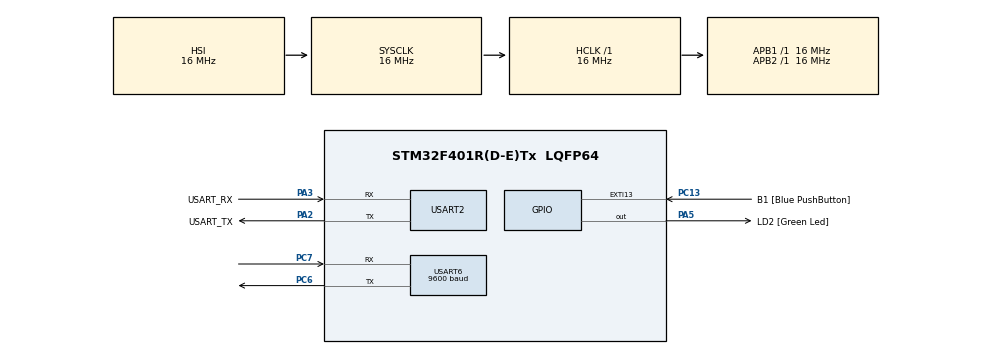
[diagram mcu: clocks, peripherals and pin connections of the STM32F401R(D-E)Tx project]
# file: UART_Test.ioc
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<<<<<<< HEAD
Mcu.Family=STM32F4
Mcu.Name=STM32F401R(D-E)Tx
Mcu.Package=LQFP64
NVIC.PriorityGroup=NVIC_PRIORITYGROUP_4
NVIC.USART2_IRQn=true\:0\:0\:false\:false\:true\:true\:true\:true
PA13.GPIO_Label=TMS
PA13.Mode=Trace_Asynchronous_SW
PA13.Signal=SYS_JTMS-SWDIO
PA14.GPIO_Label=TCK
PA14.Mode=Trace_Asynchronous_SW
PA14.Signal=SYS_JTCK-SWCLK
PA2.GPIO_Label=USART_TX
PA2.GPIO_Mode=GPIO_MODE_AF_PP
PA2.GPIO_PuPd=GPIO_NOPULL
PA2.GPIO_Speed=GPIO_SPEED_FREQ_LOW
PA2.Mode=Asynchronous
PA2.Signal=USART2_TX
PA3.GPIO_Label=USART_RX
PA3.GPIO_Mode=GPIO_MODE_AF_PP
PA3.GPIO_PuPd=GPIO_NOPULL
PA3.GPIO_Speed=GPIO_SPEED_FREQ_LOW
PA3.Mode=Asynchronous
PA3.Signal=USART2_RX
PA5.GPIO_Label=LD2 [Green Led]
PA5.GPIO_Mode=GPIO_MODE_OUTPUT_PP
PA5.GPIO_PuPd=GPIO_NOPULL
PA5.GPIO_Speed=GPIO_SPEED_FREQ_LOW
PA5.Signal=GPIO_Output
PB3.GPIO_Label=SWO
PB3.Mode=Trace_Asynchronous_SW
PB3.Signal=SYS_JTDO-SWO
PC13-ANTI_TAMP.GPIO_Label=B1 [Blue PushButton]
PC13-ANTI_TAMP.GPIO_ModeDefaultEXTI=GPIO_MODE_IT_FALLING
PC13-ANTI_TAMP.GPIO_PuPd=GPIO_NOPULL
PC13-ANTI_TAMP.Signal=GPXTI13
PC14-OSC32_IN.Mode=LSE-External-Oscillator
PC14-OSC32_IN.Signal=RCC_OSC32_IN
PC15-OSC32_OUT.Mode=LSE-External-Oscillator
PC15-OSC32_OUT.Signal=RCC_OSC32_OUT
PH0\ -\ OSC_IN.Mode=HSE-External-Clock-Source
PH0\ -\ OSC_IN.Signal=RCC_OSC_IN
PH1\ -\ OSC_OUT.Mode=HSE-External-Clock-Source
PH1\ -\ OSC_OUT.Signal=RCC_OSC_OUT
ProjectManager.HeapSize=0x200
ProjectManager.StackSize=0x400
ProjectManager.TargetToolchain=STM32CubeIDE
RCC.48MHZClocksFreq_Value=48000000
RCC.AHBFreq_Value=16000000
RCC.APB1Freq_Value=16000000
RCC.APB1TimFreq_Value=16000000
RCC.APB2Freq_Value=16000000
RCC.APB2TimFreq_Value=16000000
RCC.CortexFreq_Value=16000000
RCC.HCLKFreq_Value=16000000
RCC.HSE_VALUE=8000000
RCC.HSI_VALUE=16000000
RCC.PLLN=336
RCC.PLLP=RCC_PLLP_DIV4
RCC.PLLQ=7
RCC.SYSCLKFreq_VALUE=16000000
RCC.VCOOutputFreq_Value=336000000
USART2.VirtualMode=VM_ASYNC
board=NUCLEO-F401RE
=======
Mcu.Family=STM32F4
Mcu.Name=STM32F401R(D-E)Tx
Mcu.Package=LQFP64
NVIC.PriorityGroup=NVIC_PRIORITYGROUP_4
PA13.GPIO_Label=TMS
PA13.Mode=Trace_Asynchronous_SW
PA13.Signal=SYS_JTMS-SWDIO
PA14.GPIO_Label=TCK
PA14.Mode=Trace_Asynchronous_SW
PA14.Signal=SYS_JTCK-SWCLK
PA2.GPIO_Label=USART_TX
PA2.GPIO_Mode=GPIO_MODE_AF_PP
PA2.GPIO_PuPd=GPIO_NOPULL
PA2.GPIO_Speed=GPIO_SPEED_FREQ_LOW
PA2.Mode=Asynchronous
PA2.Signal=USART2_TX
PA3.GPIO_Label=USART_RX
PA3.GPIO_Mode=GPIO_MODE_AF_PP
PA3.GPIO_PuPd=GPIO_NOPULL
PA3.GPIO_Speed=GPIO_SPEED_FREQ_LOW
PA3.Mode=Asynchronous
PA3.Signal=USART2_RX
PA5.GPIO_Label=LD2 [Green Led]
PA5.GPIO_Mode=GPIO_MODE_OUTPUT_PP
PA5.GPIO_PuPd=GPIO_NOPULL
PA5.GPIO_Speed=GPIO_SPEED_FREQ_LOW
PA5.Signal=GPIO_Output
PB3.GPIO_Label=SWO
PB3.Mode=Trace_Asynchronous_SW
PB3.Signal=SYS_JTDO-SWO
PC13-ANTI_TAMP.GPIO_Label=B1 [Blue PushButton]
PC13-ANTI_TAMP.GPIO_ModeDefaultEXTI=GPIO_MODE_IT_FALLING
PC13-ANTI_TAMP.GPIO_PuPd=GPIO_NOPULL
PC13-ANTI_TAMP.Signal=GPXTI13
PC14-OSC32_IN.Mode=LSE-External-Oscillator
PC14-OSC32_IN.Signal=RCC_OSC32_IN
PC15-OSC32_OUT.Mode=LSE-External-Oscillator
PC15-OSC32_OUT.Signal=RCC_OSC32_OUT
PC6.Mode=Asynchronous
PC6.Signal=USART6_TX
PC7.Mode=Asynchronous
PC7.Signal=USART6_RX
PH0\ -\ OSC_IN.Mode=HSE-External-Clock-Source
PH0\ -\ OSC_IN.Signal=RCC_OSC_IN
PH1\ -\ OSC_OUT.Mode=HSE-External-Clock-Source
PH1\ -\ OSC_OUT.Signal=RCC_OSC_OUT
ProjectManager.HeapSize=0x200
ProjectManager.StackSize=0x400
ProjectManager.TargetToolchain=STM32CubeIDE
RCC.48MHZClocksFreq_Value=48000000
RCC.AHBFreq_Value=16000000
RCC.APB1Freq_Value=16000000
RCC.APB1TimFreq_Value=16000000
RCC.APB2Freq_Value=16000000
RCC.APB2TimFreq_Value=16000000
RCC.CortexFreq_Value=16000000
RCC.HCLKFreq_Value=16000000
RCC.HSE_VALUE=8000000
RCC.HSI_VALUE=16000000
RCC.PLLN=336
RCC.PLLP=RCC_PLLP_DIV4
RCC.PLLQ=7
RCC.SYSCLKFreq_VALUE=16000000
RCC.VCOOutputFreq_Value=336000000
USART2.VirtualMode=VM_ASYNC
USART6.BaudRate=9600
USART6.Mode=MODE_TX
USART6.VirtualMode=VM_ASYNC
board=NUCLEO-F401RE
>>>>>>> cbf478c2e6b0994bacf5a922b6f098813195e175

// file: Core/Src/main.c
<<<<<<< HEAD
/* USER CODE BEGIN Header */
/**
  ******************************************************************************
  * @file           : main.c
  * @brief          : Main program body
  ******************************************************************************
  * @attention
  *
  * Copyright (c) 2025 STMicroelectronics.
  * All rights reserved.
  *
  * This software is licensed under terms that can be found in the LICENSE file
  * in the root directory of this software component.
  * If no LICENSE file comes with this software, it is provided AS-IS.
  *
  ******************************************************************************
  */
/* USER CODE END Header */
#include "main.h"

/* USER CODE BEGIN Includes */

#include <string.h>
#include <stdio.h>
#include <stdlib.h>
/* USER CODE END Includes */

/* USER CODE BEGIN PD */
uint8_t byte;
uint8_t val;
/* USER CODE END PD */

UART_HandleTypeDef huart2;

void SystemClock_Config(void);
static void MX_GPIO_Init(void);
static void MX_USART2_UART_Init(void);

/* USER CODE BEGIN 0 */
uint8_t rcv_inpt_flag = 0;
/* USER CODE END 0 */

int main(void)
{

  /* USER CODE BEGIN 1 */
	uint8_t txd_msg_buffer[64] = {0};
  /* USER CODE END 1 */

  /* MCU Configuration--------------------------------------------------------*/

  /* Reset of all peripherals, Initializes the Flash interface and the Systick. */
  HAL_Init();

  /* Configure the system clock */
  SystemClock_Config();

  /* Initialize all configured peripherals */
  MX_GPIO_Init();
  MX_USART2_UART_Init();
  /* USER CODE BEGIN 2 */
sprintf((char*)txd_msg_buffer, "\r\n INPUT A CHARACTER:");
  /* USER CODE END 2 */

  /* Infinite loop */
  /* USER CODE BEGIN WHILE */
  while (1)
  {
	  rcv_inpt_flag = 00;
	  HAL_UART_Receive_IT(&huart2, &byte, 1);
	  val = atoi((char*)&byte);
	  HAL_UART_Transmit(&huart2, txd_msg_buffer, strlen((char*)txd_msg_buffer), 1000);
	  while(rcv_inpt_flag == (00)){}
    /* USER CODE END WHILE */

  }
}

void SystemClock_Config(void)
{
  RCC_OscInitTypeDef RCC_OscInitStruct = {0};
  RCC_ClkInitTypeDef RCC_ClkInitStruct = {0};

  /** Configure the main internal regulator output voltage
  */
  __HAL_RCC_PWR_CLK_ENABLE();
  __HAL_PWR_VOLTAGESCALING_CONFIG(PWR_REGULATOR_VOLTAGE_SCALE2);

  /** Initializes the RCC Oscillators according to the specified parameters
  * in the RCC_OscInitTypeDef structure.
  */
  RCC_OscInitStruct.OscillatorType = RCC_OSCILLATORTYPE_HSI;
  RCC_OscInitStruct.HSIState = RCC_HSI_ON;
  RCC_OscInitStruct.HSICalibrationValue = RCC_HSICALIBRATION_DEFAULT;
  RCC_OscInitStruct.PLL.PLLState = RCC_PLL_NONE;
  if (HAL_RCC_OscConfig(&RCC_OscInitStruct) != HAL_OK)
  {
    Error_Handler();
  }

  /** Initializes the CPU, AHB and APB buses clocks
  */
  RCC_ClkInitStruct.ClockType = RCC_CLOCKTYPE_HCLK|RCC_CLOCKTYPE_SYSCLK
                              |RCC_CLOCKTYPE_PCLK1|RCC_CLOCKTYPE_PCLK2;
  RCC_ClkInitStruct.SYSCLKSource = RCC_SYSCLKSOURCE_HSI;
  RCC_ClkInitStruct.AHBCLKDivider = RCC_SYSCLK_DIV1;
  RCC_ClkInitStruct.APB1CLKDivider = RCC_HCLK_DIV1;
  RCC_ClkInitStruct.APB2CLKDivider = RCC_HCLK_DIV1;

  if (HAL_RCC_ClockConfig(&RCC_ClkInitStruct, FLASH_LATENCY_0) != HAL_OK)
  {
    Error_Handler();
  }
}

static void MX_USART2_UART_Init(void)
{

  huart2.Instance = USART2;
  huart2.Init.BaudRate = 115200;
  huart2.Init.WordLength = UART_WORDLENGTH_8B;
  huart2.Init.StopBits = UART_STOPBITS_1;
  huart2.Init.Parity = UART_PARITY_NONE;
  huart2.Init.Mode = UART_MODE_TX_RX;
  huart2.Init.HwFlowCtl = UART_HWCONTROL_NONE;
  huart2.Init.OverSampling = UART_OVERSAMPLING_16;
  if (HAL_UART_Init(&huart2) != HAL_OK)
  {
    Error_Handler();
  }

}

static void MX_GPIO_Init(void)
{
  GPIO_InitTypeDef GPIO_InitStruct = {0};

  /* GPIO Ports Clock Enable */
  __HAL_RCC_GPIOC_CLK_ENABLE();
  __HAL_RCC_GPIOH_CLK_ENABLE();
  __HAL_RCC_GPIOA_CLK_ENABLE();
  __HAL_RCC_GPIOB_CLK_ENABLE();

  /*Configure GPIO pin Output Level */
  HAL_GPIO_WritePin(LD2_GPIO_Port, LD2_Pin, GPIO_PIN_RESET);

  /*Configure GPIO pin : B1_Pin */
  GPIO_InitStruct.Pin = B1_Pin;
  GPIO_InitStruct.Mode = GPIO_MODE_IT_FALLING;
  GPIO_InitStruct.Pull = GPIO_NOPULL;
  HAL_GPIO_Init(B1_GPIO_Port, &GPIO_InitStruct);

  /*Configure GPIO pin : LD2_Pin */
  GPIO_InitStruct.Pin = LD2_Pin;
  GPIO_InitStruct.Mode = GPIO_MODE_OUTPUT_PP;
  GPIO_InitStruct.Pull = GPIO_NOPULL;
  GPIO_InitStruct.Speed = GPIO_SPEED_FREQ_LOW;
  HAL_GPIO_Init(LD2_GPIO_Port, &GPIO_InitStruct);

}

/* USER CODE BEGIN 4 */
void HAL_UART_RxCpltCallback(UART_HandleTypeDef *huart)
{
	if (huart->Instance == USART2)
	{
		HAL_UART_Transmit(&huart2, &byte, 1, 1000);
		rcv_inpt_flag = 1;
	}
}
/* USER CODE END 4 */

void Error_Handler(void)
{
  __disable_irq();
  while (1)
  {
  }
}
=======
/* USER CODE BEGIN Header */
/**
  ******************************************************************************
  * @file           : main.c
  * @brief          : Main program body
  ******************************************************************************
  * @attention
  *
  * Copyright (c) 2025 STMicroelectronics.
  * All rights reserved.
  *
  * This software is licensed under terms that can be found in the LICENSE file
  * in the root directory of this software component.
  * If no LICENSE file comes with this software, it is provided AS-IS.
  *
  ******************************************************************************
  */
/* USER CODE END Header */
#include "main.h"
#include <string.h>
#include <stdio.h>

UART_HandleTypeDef huart2;
UART_HandleTypeDef huart6;

void SystemClock_Config(void);
static void MX_GPIO_Init(void);
static void MX_USART2_UART_Init(void);
static void MX_USART6_UART_Init(void);

int main(void)
{

  /* USER CODE BEGIN 1 */
	uint8_t txd_msg_buffer[64] = {0};
  /* USER CODE END 1 */

  /* MCU Configuration--------------------------------------------------------*/

  /* Reset of all peripherals, Initializes the Flash interface and the Systick. */
  HAL_Init();

  /* Configure the system clock */
  SystemClock_Config();

  /* Initialize all configured peripherals */
  MX_GPIO_Init();
  MX_USART2_UART_Init();
  MX_USART6_UART_Init();
  /* USER CODE BEGIN 2 */
  sprintf((char*)txd_msg_buffer, "HELLO\r\n");

  /* USER CODE END 2 */

  /* Infinite loop */
  /* USER CODE BEGIN WHILE */
  while (1)
  {
	 HAL_UART_Transmit(&huart6, txd_msg_buffer, strlen((char*)txd_msg_buffer), 1000);
    /* USER CODE END WHILE */

  }
}

void SystemClock_Config(void)
{
  RCC_OscInitTypeDef RCC_OscInitStruct = {0};
  RCC_ClkInitTypeDef RCC_ClkInitStruct = {0};

  /** Configure the main internal regulator output voltage
  */
  __HAL_RCC_PWR_CLK_ENABLE();
  __HAL_PWR_VOLTAGESCALING_CONFIG(PWR_REGULATOR_VOLTAGE_SCALE2);

  /** Initializes the RCC Oscillators according to the specified parameters
  * in the RCC_OscInitTypeDef structure.
  */
  RCC_OscInitStruct.OscillatorType = RCC_OSCILLATORTYPE_HSI;
  RCC_OscInitStruct.HSIState = RCC_HSI_ON;
  RCC_OscInitStruct.HSICalibrationValue = RCC_HSICALIBRATION_DEFAULT;
  RCC_OscInitStruct.PLL.PLLState = RCC_PLL_NONE;
  if (HAL_RCC_OscConfig(&RCC_OscInitStruct) != HAL_OK)
  {
    Error_Handler();
  }

  /** Initializes the CPU, AHB and APB buses clocks
  */
  RCC_ClkInitStruct.ClockType = RCC_CLOCKTYPE_HCLK|RCC_CLOCKTYPE_SYSCLK
                              |RCC_CLOCKTYPE_PCLK1|RCC_CLOCKTYPE_PCLK2;
  RCC_ClkInitStruct.SYSCLKSource = RCC_SYSCLKSOURCE_HSI;
  RCC_ClkInitStruct.AHBCLKDivider = RCC_SYSCLK_DIV1;
  RCC_ClkInitStruct.APB1CLKDivider = RCC_HCLK_DIV1;
  RCC_ClkInitStruct.APB2CLKDivider = RCC_HCLK_DIV1;

  if (HAL_RCC_ClockConfig(&RCC_ClkInitStruct, FLASH_LATENCY_0) != HAL_OK)
  {
    Error_Handler();
  }
}

static void MX_USART2_UART_Init(void)
{

  huart2.Instance = USART2;
  huart2.Init.BaudRate = 115200;
  huart2.Init.WordLength = UART_WORDLENGTH_8B;
  huart2.Init.StopBits = UART_STOPBITS_1;
  huart2.Init.Parity = UART_PARITY_NONE;
  huart2.Init.Mode = UART_MODE_TX_RX;
  huart2.Init.HwFlowCtl = UART_HWCONTROL_NONE;
  huart2.Init.OverSampling = UART_OVERSAMPLING_16;
  if (HAL_UART_Init(&huart2) != HAL_OK)
  {
    Error_Handler();
  }

}

static void MX_USART6_UART_Init(void)
{

  huart6.Instance = USART6;
  huart6.Init.BaudRate = 9600;
  huart6.Init.WordLength = UART_WORDLENGTH_8B;
  huart6.Init.StopBits = UART_STOPBITS_1;
  huart6.Init.Parity = UART_PARITY_NONE;
  huart6.Init.Mode = UART_MODE_TX;
  huart6.Init.HwFlowCtl = UART_HWCONTROL_NONE;
  huart6.Init.OverSampling = UART_OVERSAMPLING_16;
  if (HAL_UART_Init(&huart6) != HAL_OK)
  {
    Error_Handler();
  }

}

static void MX_GPIO_Init(void)
{
  GPIO_InitTypeDef GPIO_InitStruct = {0};

  /* GPIO Ports Clock Enable */
  __HAL_RCC_GPIOC_CLK_ENABLE();
  __HAL_RCC_GPIOH_CLK_ENABLE();
  __HAL_RCC_GPIOA_CLK_ENABLE();
  __HAL_RCC_GPIOB_CLK_ENABLE();

  /*Configure GPIO pin Output Level */
  HAL_GPIO_WritePin(LD2_GPIO_Port, LD2_Pin, GPIO_PIN_RESET);

  /*Configure GPIO pin : B1_Pin */
  GPIO_InitStruct.Pin = B1_Pin;
  GPIO_InitStruct.Mode = GPIO_MODE_IT_FALLING;
  GPIO_InitStruct.Pull = GPIO_NOPULL;
  HAL_GPIO_Init(B1_GPIO_Port, &GPIO_InitStruct);

  /*Configure GPIO pin : LD2_Pin */
  GPIO_InitStruct.Pin = LD2_Pin;
  GPIO_InitStruct.Mode = GPIO_MODE_OUTPUT_PP;
  GPIO_InitStruct.Pull = GPIO_NOPULL;
  GPIO_InitStruct.Speed = GPIO_SPEED_FREQ_LOW;
  HAL_GPIO_Init(LD2_GPIO_Port, &GPIO_InitStruct);

}

void Error_Handler(void)
{
  __disable_irq();
  while (1)
  {
  }
}
>>>>>>> cbf478c2e6b0994bacf5a922b6f098813195e175
